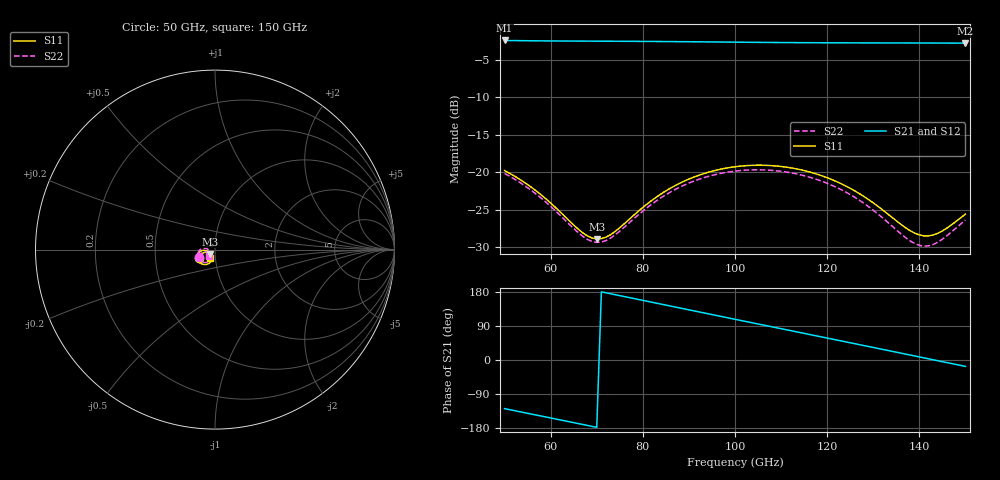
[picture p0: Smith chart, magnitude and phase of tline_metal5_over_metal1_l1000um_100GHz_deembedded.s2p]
! Created with skrf 2.0.1 (http://scikit-rf.org).
# GHz S DB R 50.0
!freq dBS11 angS11 dBS21 angS21 dBS12 angS12 dBS22 angS22
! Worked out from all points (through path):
!   101 points, 50 GHz to 150 GHz, reference 50 ohm
!   highest |S21| = -2.44 dB at 50 GHz (marker M1); lowest = -2.8 dB at 150 GHz (marker M2)
!   group delay of S21, straight-line fit = 6.91 ps
!   lowest |S11| = -28.9 dB at 70 GHz (marker M3), VSWR 1.07, Z = 47.3 - j2.3 ohm
!   |S11| at or under -10 dB: start of sweep to end of sweep
!   |S22| runs from -29.8 to -19.7 dB; largest |S21 - S12| = 8.6e-14
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50  -19.76 -153.2  -2.44 -128.4  -2.44 -128.4  -20.14 -155.8
55  -21.63 -161.4  -2.48 -140.7  -2.48 -140.7  -22.05 -164.4
59  -23.54 -165.0  -2.50 -150.5  -2.50 -150.5  -23.98 -168.3
63  -25.82 -163.3  -2.51 -160.4  -2.51 -160.4  -26.28 -167.0
67  -28.06 -152.6  -2.53 -170.3  -2.53 -170.3  -28.53 -156.6
70  -28.86 -137.8  -2.53 -177.7  -2.53 -177.7  -29.32 -142.0
73  -28.29 -122.6  -2.54 174.8  -2.54 174.8  -28.75 -127.2
78  -25.72 -109.5  -2.56 162.4  -2.56 162.4  -26.19 -114.8
84  -22.85 -109.7  -2.58 147.4  -2.58 147.4  -23.35 -115.7
92  -20.42 -120.0  -2.62 127.4  -2.62 127.4  -20.96 -126.9
100  -19.25 -133.9  -2.66 107.5  -2.66 107.5  -19.83 -141.7
104  -19.06 -141.3  -2.69 97.5  -2.69 97.5  -19.66 -149.5
108  -19.10 -148.6  -2.71 87.6  -2.71 87.6  -19.73 -157.3
112  -19.39 -155.7  -2.72 77.7  -2.72 77.7  -20.04 -164.9
117  -20.09 -164.0  -2.74 65.3  -2.74 65.3  -20.79 -173.8
121  -20.95 -169.7  -2.75 55.4  -2.75 55.4  -21.71 179.9
126  -22.47 -175.1  -2.76 43.0  -2.76 43.0  -23.32 173.9
134  -25.95 -173.7  -2.77 23.1  -2.77 23.1  -27.11 174.8
139  -28.09 -159.7  -2.77 10.6  -2.77 10.6  -29.47 -169.7
142  -28.46 -146.2  -2.78 3.1  -2.78 3.1  -29.78 -154.4
145  -27.80 -133.4  -2.79 -4.4  -2.79 -4.4  -28.90 -140.8
150  -25.56 -121.8  -2.80 -16.9  -2.80 -16.9  -26.35 -130.0
